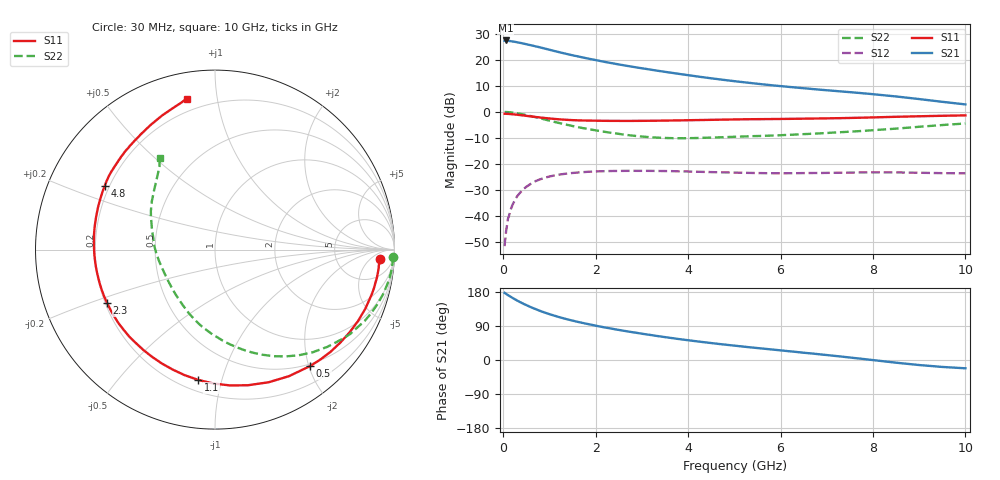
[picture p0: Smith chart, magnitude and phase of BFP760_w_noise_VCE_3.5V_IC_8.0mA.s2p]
! Infineon Technologies  Discrete & RF Semiconductors
! BFP760
! VCE =  3.5 V,  IC =  8.0 mA
! Common Emitter S-Parameters:  Nov 2012
# GHz  S  MA  R  50
!  f  S11  S21  S12  S22
! GHz  MAG  ANG  MAG  ANG  MAG  ANG  MAG  ANG
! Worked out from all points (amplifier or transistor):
!   99 points, 30 MHz to 10 GHz, reference 50 ohm
!   highest |S21| = 27.5 dB at 50 MHz (marker M1)
!   |S21| within 3 dB of that: start of sweep to 871.9 MHz
!   unconditionally stable (mu >= 1): 5.677 GHz to end of sweep
!   at 350 MHz: K = 0.11, MSG = 29.0 dB, |S12| = -31.4 dB
!   at 3.5 GHz: K = 0.61, MSG = 19.1 dB, |S12| = -22.8 dB
!   at 10 GHz: K = 1.20, MAG = 10.6 dB, |S12| = -23.7 dB
!   lowest NFmin = 0.46 dB at 900 MHz
!   S11 on the Smith chart (normalised r, x): 30 MHz: 16, -11; 500 MHz: 0.46, -2.02; 1.1 GHz: 0.27, -0.84; 2.3 GHz: 0.21, -0.22; 4.8 GHz: 0.18, +0.26; 10 GHz: 0.13, +0.82
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0.03  0.9209 -3.4  23.34 177.3  0.0026 78.5  0.995 -2.5
0.05  0.917 -5.4  23.66 175.3  0.0037 85.1  0.9925 -3.8
0.11  0.9124 -11.9  23.31 170.7  0.0093 80.0  0.9863 -8.4
0.2  0.9 -21.5  22.61 164.0  0.0162 77.2  0.9681 -15.1
0.3  0.8804 -31.6  21.84 157.0  0.0237 71.3  0.9398 -22.1
0.4  0.8596 -41.5  20.98 150.7  0.0301 65.9  0.9039 -28.7
0.5  0.838 -50.7  20.04 144.9  0.0361 61.2  0.8672 -35.0
0.6  0.8168 -59.7  19.14 139.3  0.0414 56.7  0.8277 -40.9
0.8  0.7778 -76.3  17.41 129.4  0.0504 48.6  0.7512 -51.6
1.1  0.732 -97.3  14.88 117.2  0.0595 38.7  0.6434 -65.6
1.4  0.7003 -115.0  12.85 106.9  0.0653 31.3  0.5584 -77.4
1.7  0.6824 -130.0  11.24 98.3  0.0689 25.5  0.4911 -88.0
2  0.6761 -142.6  9.924 90.6  0.0714 20.6  0.4409 -98.3
2.3  0.6706 -153.6  8.803 83.7  0.0725 16.5  0.3992 -107.9
2.8  0.6698 -169.3  7.372 73.3  0.0733 11.2  0.3487 -123.4
3.4  0.6767 175.1  6.074 62.2  0.0727 6.5  0.3172 -142.2
4.1  0.6925 160.6  4.942 50.6  0.0707 2.6  0.3128 -161.6
4.8  0.7094 150.1  4.092 40.6  0.0683 0.7  0.3262 -175.5
5.1  0.7165 146.6  3.805 36.6  0.0675 0.4  0.3336 179.6
6.7  0.7435 131.5  2.746 16.9  0.0665 0.9  0.3796 158.6
8.5  0.8033 111.5  1.978 -7.1  0.0683 -2.2  0.4755 135.4
10  0.8552 100.7  1.391 -21.9  0.0656 -2.1  0.5975 121.1
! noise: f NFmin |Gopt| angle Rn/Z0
0.9  0.46  0.29  26  0.1
1.8  0.52  0.23  54  0.09
2.4  0.57  0.18  81  0.09
3.5  0.75  0.16  119  0.08
5.5  0.95  0.3  -146  0.08
8  1.43  0.42  -98  0.24
